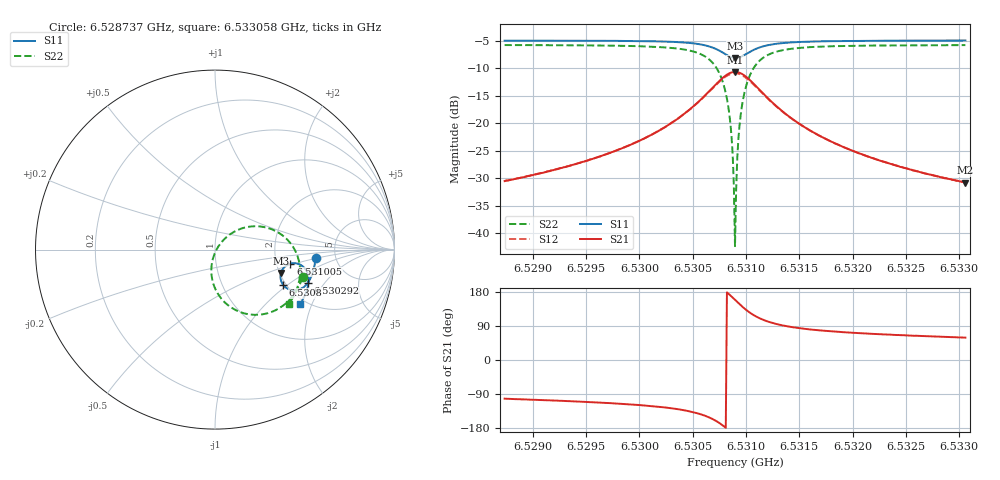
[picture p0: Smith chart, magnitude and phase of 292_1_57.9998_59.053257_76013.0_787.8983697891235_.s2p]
#  HZ  S  RI  R  50.00
! Rohde & Schwarz Vector Network Analyzer
! Rohde-Schwarz,ZNB20-2Port,1311601062101988,3.16
! Created: UTC 3/21/2024, 1:03:19 AM
! freq[Hz]  re:S11  im:S11  re:S21  im:S21  re:S12  im:S12  re:S22  im:S22
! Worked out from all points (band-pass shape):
!   401 points, 6.528737 GHz to 6.533058 GHz, reference 50 ohm
!   highest |S21| = -10.69 dB at 6.530897 GHz (marker M1); lowest = -30.9 dB at 6.533058 GHz (marker M2)
!   |S21| within 3 dB of the highest: 6.530682 GHz to 6.531114 GHz (432.5 kHz wide, 0.00662 % of centre)
!   lowest |S11| = -8.2 dB at 6.530897 GHz (marker M3), VSWR 2.28, Z = 102 - j31.2 ohm
!   |S11| at or under -10 dB: nowhere
!   |S22| runs from -42.4 to -5.8 dB; largest |S21 - S12| = 0.011
!   S11 on the Smith chart (normalised r, x): 6.528737 GHz: 3.50, -0.46; 6.530292 GHz: 2.59, -1.39; 6.5308 GHz: 1.93, -0.93; 6.531005 GHz: 2.38, -0.46; 6.533058 GHz: 1.85, -1.65
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6.5287367e9  0.56 -0.0447  -0.00618 -0.029  -0.00681 -0.029  0.488 -0.1553
6.5294605e9  0.551 -0.1045  -0.0151 -0.0415  -0.0161 -0.041  0.4585 -0.2205
6.5301843e9  0.5243 -0.1752  -0.0471 -0.0712  -0.0489 -0.0699  0.3809 -0.3109
6.5302923e9  0.5154 -0.188  -0.0596 -0.0789  -0.0617 -0.0772  0.3545 -0.3285
6.530638e9  0.4492 -0.2266  -0.1616 -0.0948  -0.1634 -0.0885  0.1631 -0.3552
6.5307352e9  0.4084 -0.2195  -0.224 -0.0666  -0.223 -0.0574  0.0584 -0.2978
6.5308e9  0.3796 -0.196  -0.2657 -0.0166  -0.2606 -0.00724  -0.00359 -0.2066
6.5308432e9  0.3671 -0.1697  -0.2812 0.034  -0.2732 0.0416  -0.0206 -0.1208
6.5308648e9  0.3647 -0.1541  -0.282 0.0626  -0.2728 0.0688  -0.017 -0.0736
6.5308756e9  0.3647 -0.1461  -0.2803 0.0771  -0.2707 0.0826  -0.0115 -0.0501
6.5308864e9  0.3656 -0.138  -0.2771 0.0917  -0.2672 0.0962  -0.0038 -0.0267
6.5308972e9  0.3675 -0.1301  -0.2723 0.1057  -0.2624 0.1094  0.00609 -0.00455
6.530908e9  0.3703 -0.1223  -0.2664 0.1196  -0.2563 0.1222  0.0183 0.0168
6.5309188e9  0.3737 -0.1151  -0.2591 0.1323  -0.2491 0.1343  0.0326 0.0366
6.5309296e9  0.3779 -0.1081  -0.2505 0.1445  -0.2409 0.1454  0.0483 0.0548
6.5309512e9  0.3882 -0.0962  -0.2309 0.1652  -0.2217 0.1647  0.0843 0.0856
6.5310052e9  0.4197 -0.0785  -0.1735 0.1964  -0.167 0.1937  0.1838 0.1265
6.5310809e9  0.4606 -0.0787  -0.1016 0.1989  -0.0982 0.196  0.3045 0.1174
6.5311889e9  0.4965 -0.1003  -0.0396 0.1699  -0.0378 0.1683  0.4046 0.0538
6.531621e9  0.5215 -0.1788  0.0143 0.0822  0.0154 0.0819  0.474 -0.1304
6.5323448e9  0.5023 -0.2511  0.0168 0.0394  0.0176 0.0392  0.4458 -0.2446
6.5330577e9  0.4751 -0.3038  0.0148 0.0246  0.0153 0.0245  0.4106 -0.3053
